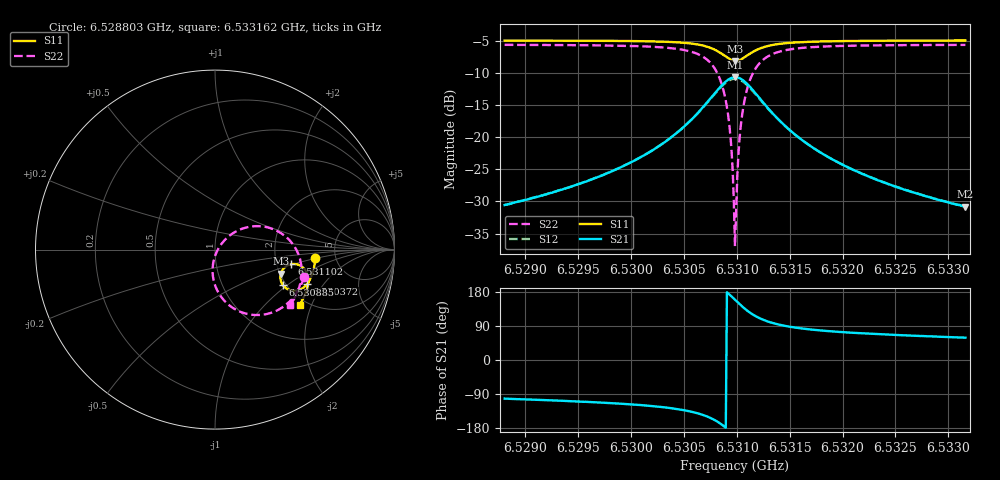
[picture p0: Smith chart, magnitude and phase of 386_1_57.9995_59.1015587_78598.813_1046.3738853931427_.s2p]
#  HZ  S  RI  R  50.00
! Rohde & Schwarz Vector Network Analyzer
! Rohde-Schwarz,ZNB20-2Port,1311601062101988,3.16
! Created: UTC 3/21/2024, 1:07:38 AM
! freq[Hz]  re:S11  im:S11  re:S21  im:S21  re:S12  im:S12  re:S22  im:S22
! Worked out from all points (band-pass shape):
!   401 points, 6.528803 GHz to 6.533162 GHz, reference 50 ohm
!   highest |S21| = -10.70 dB at 6.530983 GHz (marker M1); lowest = -30.8 dB at 6.533162 GHz (marker M2)
!   |S21| within 3 dB of the highest: 6.530766 GHz to 6.531202 GHz (436.1 kHz wide, 0.00668 % of centre)
!   lowest |S11| = -8.2 dB at 6.530983 GHz (marker M3), VSWR 2.28, Z = 101 - j31.9 ohm
!   |S11| at or under -10 dB: nowhere
!   |S22| runs from -37.0 to -5.7 dB; largest |S21 - S12| = 0.011
!   S11 on the Smith chart (normalised r, x): 6.528803 GHz: 3.49, -0.48; 6.530372 GHz: 2.57, -1.40; 6.530885 GHz: 1.92, -0.94; 6.531102 GHz: 2.41, -0.48; 6.533162 GHz: 1.82, -1.65
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6.5288029e9  0.5592 -0.0474  -0.00608 -0.029  -0.00671 -0.0289  0.4986 -0.1504
6.5295331e9  0.5499 -0.1075  -0.0151 -0.0413  -0.0158 -0.041  0.4697 -0.2171
6.5302633e9  0.5227 -0.1781  -0.0466 -0.071  -0.0486 -0.0699  0.3924 -0.3096
6.5303723e9  0.514 -0.1909  -0.0592 -0.0787  -0.0613 -0.0772  0.3663 -0.3276
6.530721e9  0.4478 -0.2292  -0.1604 -0.095  -0.1624 -0.0889  0.1747 -0.3573
6.5308191e9  0.4076 -0.2221  -0.2229 -0.0673  -0.222 -0.0584  0.0689 -0.3016
6.5308845e9  0.379 -0.199  -0.2649 -0.0176  -0.26 -0.00849  0.00509 -0.2114
6.5309281e9  0.3666 -0.1729  -0.2807 0.0327  -0.2728 0.0402  -0.0136 -0.1255
6.530939e9  0.3651 -0.1653  -0.2818 0.0467  -0.2733 0.0537  -0.0132 -0.1018
6.5309608e9  0.3643 -0.1494  -0.2799 0.0757  -0.2706 0.0811  -0.00568 -0.0543
6.5309717e9  0.3653 -0.1414  -0.2768 0.0903  -0.2672 0.0947  0.00177 -0.0311
6.5309826e9  0.3671 -0.1335  -0.2723 0.1044  -0.2625 0.1079  0.0114 -0.00845
6.5309935e9  0.3697 -0.1259  -0.2664 0.1182  -0.2565 0.1208  0.0233 0.0132
6.5310044e9  0.3732 -0.1185  -0.2592 0.1311  -0.2494 0.1328  0.0373 0.0335
6.5310262e9  0.3823 -0.1055  -0.2412 0.1544  -0.2321 0.1544  0.07 0.0689
6.531048e9  0.3936 -0.095  -0.2203 0.1729  -0.2119 0.1719  0.1077 0.0961
6.5311025e9  0.4255 -0.081  -0.1624 0.1985  -0.1568 0.1956  0.2077 0.1293
6.5311788e9  0.4645 -0.0842  -0.0937 0.1965  -0.0907 0.1938  0.3234 0.114
6.5312877e9  0.4975 -0.1071  -0.0358 0.1663  -0.0343 0.1649  0.418 0.0493
6.5317128e9  0.5193 -0.1831  0.0144 0.0822  0.0153 0.082  0.4832 -0.129
6.532443e9  0.4993 -0.2556  0.0169 0.0393  0.0176 0.0391  0.4555 -0.2449
6.5331623e9  0.4714 -0.3083  0.0149 0.0246  0.0153 0.0244  0.4204 -0.3067
